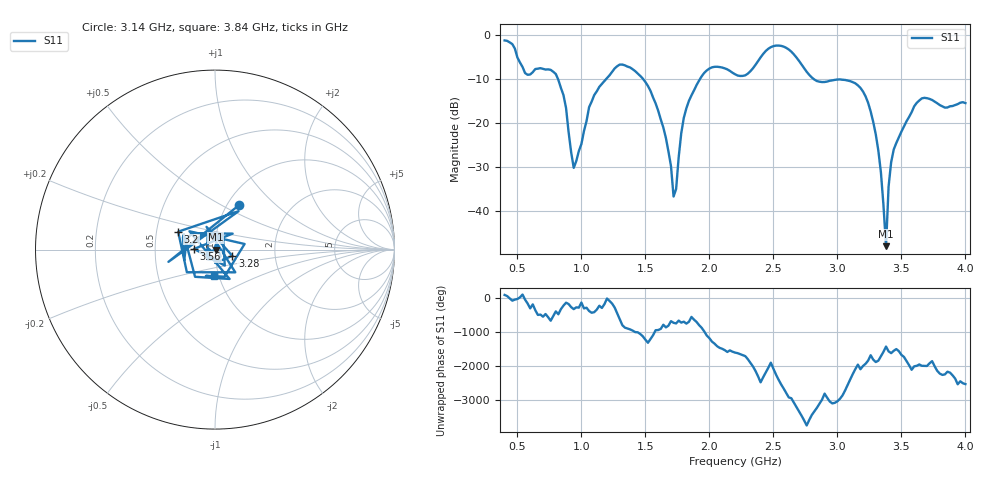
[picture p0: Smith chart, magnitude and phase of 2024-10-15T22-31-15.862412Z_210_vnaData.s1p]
! Created with skrf (http://scikit-rf.org).
# Hz S RI R 50.0
!freq ReS11 ImS11
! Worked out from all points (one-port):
!   181 points, 400 MHz to 4 GHz, reference 50 ohm
!   lowest |S11| = -48.0 dB at 3.38 GHz (marker M1), VSWR 1.01, Z = 50.4 + j0.041 ohm
!   |S11| at or under -10 dB: 817.1 MHz to 1.193 GHz (375.6 MHz wide, 37.4 % of centre); 1.482 GHz to 1.927 GHz (444.2 MHz wide, 26.1 % of centre); 2.815 GHz to end of sweep
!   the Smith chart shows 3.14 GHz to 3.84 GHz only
!   S11 on the Smith chart (normalised r, x): 3.14 GHz: 1.14, +0.61; 3.2 GHz: 0.65, +0.14; 3.28 GHz: 1.21, -0.09; 3.56 GHz: 0.79, +0.01; 3.84 GHz: 0.94, -0.29
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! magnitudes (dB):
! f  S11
! 400 MHz  -1.2
! 800 MHz  -8.8
! 860 MHz  -13.7
! 940 MHz  -30.2
! 1.1 GHz  -13.7
! 1.3 GHz  -6.7
! 1.54 GHz  -12.7
! 1.66 GHz  -23.4
! 1.72 GHz  -36.7
! 1.76 GHz  -27.8
! 1.82 GHz  -16.7
! 1.94 GHz  -9.4
! 2.2 GHz  -8.9
! 2.5 GHz  -2.5
! 2.66 GHz  -4.4
! 2.84 GHz  -10.5
! 3.1 GHz  -10.5
! 3.14 GHz  -11.0
! 3.2 GHz  -12.8
! 3.28 GHz  -19.8
! 3.34 GHz  -31.2
! 3.38 GHz  -48.0
! 3.4 GHz  -34.4
! 3.42 GHz  -28.9
! 3.56 GHz  -18.6
! 3.66 GHz  -14.4
! 3.84 GHz  -16.5
! 4 GHz  -15.5
